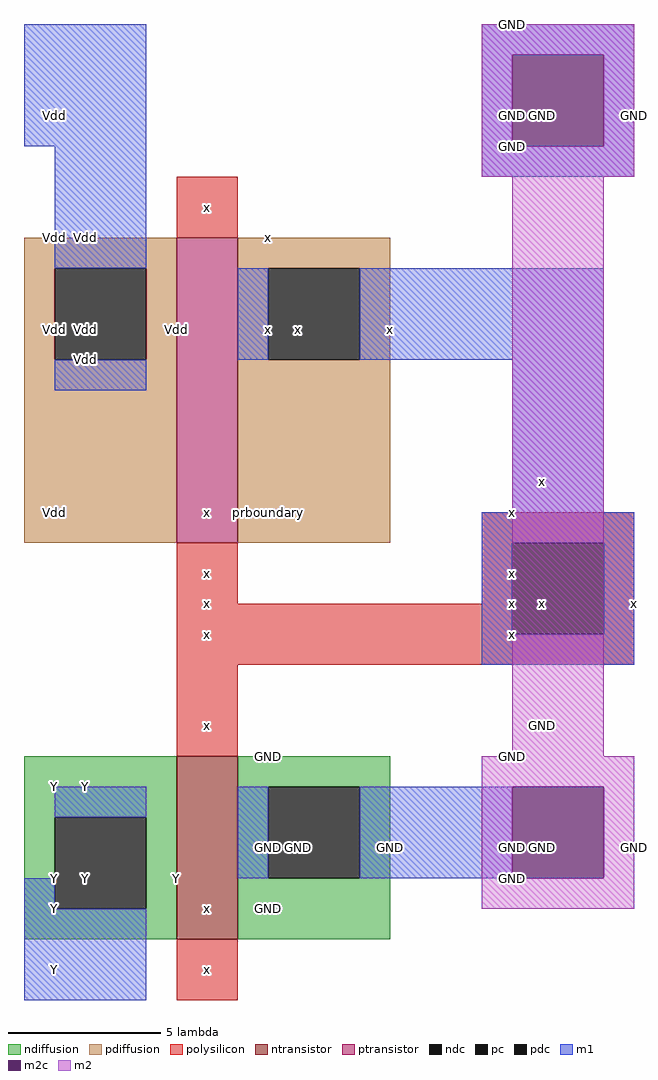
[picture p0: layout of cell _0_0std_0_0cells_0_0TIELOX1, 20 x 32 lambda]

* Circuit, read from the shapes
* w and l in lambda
.subckt _0_0std_0_0cells_0_0TIELOX1 Y
M1 GND x Y VSUBS nfet w=6 l=2
M2 x x Vdd NWELL pfet w=10 l=2
.ends

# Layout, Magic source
magic
tech sky130l
<< ndiffusion >>
rect 8 10 13 12
rect 8 7 9 10
rect 12 7 13 10
rect 8 6 13 7
rect 15 11 20 12
rect 15 8 16 11
rect 19 8 20 11
rect 15 6 20 8
<< ndc >>
rect 9 7 12 10
rect 16 8 19 11
<< ntransistor >>
rect 13 6 15 12
<< pdiffusion >>
rect 8 28 13 29
rect 8 25 9 28
rect 12 25 13 28
rect 8 19 13 25
rect 15 28 20 29
rect 15 25 16 28
rect 19 25 20 28
rect 15 19 20 25
<< pdc >>
rect 9 25 12 28
rect 16 25 19 28
<< ptransistor >>
rect 13 19 15 29
<< polysilicon >>
rect 13 29 15 31
rect 23 19 28 20
rect 13 17 15 19
rect 23 17 24 19
rect 13 16 24 17
rect 27 16 28 19
rect 13 15 28 16
rect 13 12 15 15
rect 13 4 15 6
<< pc >>
rect 24 16 27 19
<< m1 >>
rect 8 32 12 36
rect 9 28 12 32
rect 23 35 28 36
rect 23 32 24 35
rect 27 32 28 35
rect 23 31 28 32
rect 15 25 16 28
rect 19 25 27 28
rect 9 24 12 25
rect 24 20 27 25
rect 23 19 28 20
rect 23 16 24 19
rect 27 16 28 19
rect 23 15 28 16
rect 9 10 12 11
rect 8 7 9 8
rect 15 8 16 11
rect 19 8 24 11
rect 8 4 12 7
<< m2c >>
rect 24 32 27 35
rect 24 8 27 11
<< m2 >>
rect 23 35 28 36
rect 23 32 24 35
rect 27 32 28 35
rect 23 31 28 32
rect 24 12 27 31
rect 23 11 28 12
rect 23 8 24 11
rect 27 8 28 11
rect 23 7 28 8
<< labels >>
rlabel space 0 0 32 40 6 prboundary
rlabel polysilicon 24 18 24 18 3 x
rlabel ndiffusion 16 7 16 7 3 GND
rlabel ndiffusion 16 12 16 12 3 GND
rlabel ndiffusion 13 8 13 8 3 Y
rlabel pdiffusion 16 20 16 20 3 x
rlabel pdiffusion 16 29 16 29 3 x
rlabel pdiffusion 13 26 13 26 3 Vdd
rlabel polysilicon 14 5 14 5 3 x
rlabel ntransistor 14 7 14 7 3 x
rlabel polysilicon 14 13 14 13 3 x
rlabel polysilicon 14 16 14 16 3 x
rlabel polysilicon 14 17 14 17 3 x
rlabel polysilicon 14 18 14 18 3 x
rlabel ptransistor 14 20 14 20 3 x
rlabel polysilicon 14 30 14 30 3 x
rlabel ndiffusion 9 7 9 7 3 Y
rlabel ndiffusion 9 11 9 11 3 Y
rlabel pdiffusion 9 20 9 20 3 Vdd
rlabel pdiffusion 9 26 9 26 3 Vdd
rlabel pdiffusion 9 29 9 29 3 Vdd
rlabel m1 28 17 28 17 3 x
rlabel pc 25 17 25 17 3 x
rlabel m1 25 21 25 21 3 x
rlabel m1 24 16 24 16 3 x
rlabel m1 24 17 24 17 3 x
rlabel m1 24 20 24 20 3 x
rlabel m1 20 9 20 9 3 GND
rlabel m1 20 26 20 26 3 x
rlabel ndc 17 9 17 9 3 GND
rlabel pdc 17 26 17 26 3 x
rlabel m1 16 9 16 9 3 GND
rlabel m1 16 26 16 26 3 x
rlabel ndc 10 8 10 8 3 Y
port 1 e
rlabel m1 10 11 10 11 3 Y
port 1 e
rlabel m1 10 25 10 25 3 Vdd
rlabel pdc 10 26 10 26 3 Vdd
rlabel m1 10 29 10 29 3 Vdd
rlabel m1 9 5 9 5 3 Y
port 1 e
rlabel m1 9 8 9 8 3 Y
port 1 e
rlabel m1 9 33 9 33 3 Vdd
rlabel m2 28 9 28 9 3 GND
rlabel m2 28 33 28 33 3 GND
rlabel m2c 25 9 25 9 3 GND
rlabel m2 25 13 25 13 3 GND
rlabel m2c 25 33 25 33 3 GND
rlabel m2 24 8 24 8 3 GND
rlabel m2 24 9 24 9 3 GND
rlabel m2 24 12 24 12 3 GND
rlabel m2 24 32 24 32 3 GND
rlabel m2 24 33 24 33 3 GND
rlabel m2 24 36 24 36 3 GND
<< end >>
